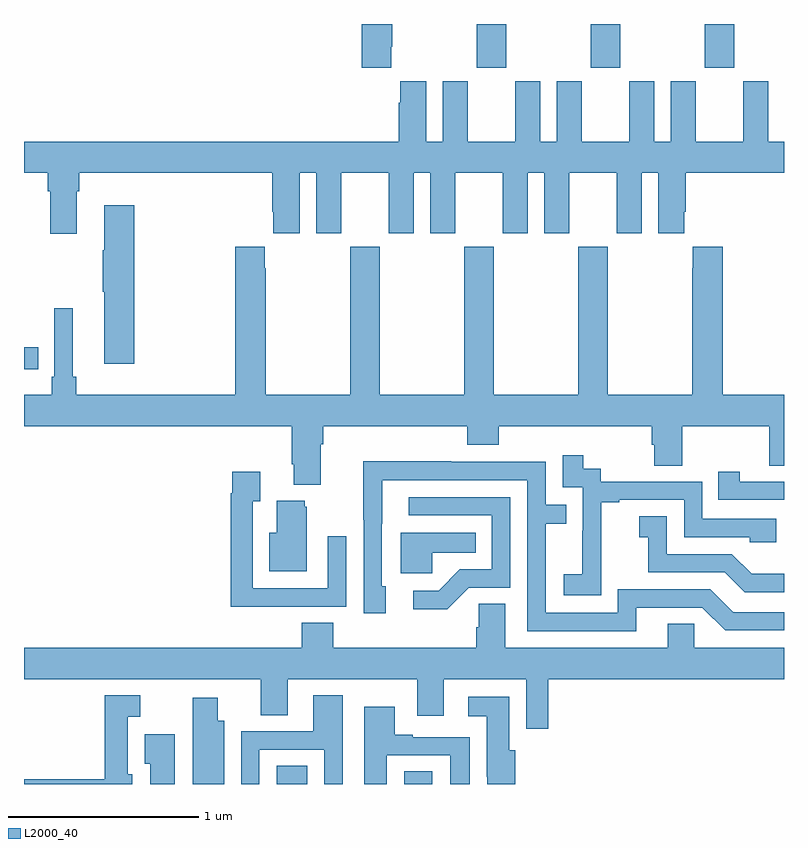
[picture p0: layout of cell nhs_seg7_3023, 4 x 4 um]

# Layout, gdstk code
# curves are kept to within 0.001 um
import gdstk
lib = gdstk.Library(unit=1e-6, precision=1e-09)
def R(c, l, rs):  # rectangles x0, y0, x1, y1
    for r in rs: c.add(gdstk.rectangle(r[:2], r[2:], *l))
def A(c, l, x, y, w, h, nx, ny, dx, dy):  # array of equal rectangles
    R(c, l, [(x+i*dx, y+j*dy, x+i*dx+w, y+j*dy+h) for i in range(nx) for j in range(ny)])
def P(c, l, *ps):  # polygons
    for p in ps: c.add(gdstk.Polygon(p, *l))
L2000_40 = (2000, 40)

nhs_seg7_3023 = lib.new_cell('nhs_seg7_3023')
A(nhs_seg7_3023, L2000_40, 305.383, 1067.769, 0.155, 0.231, 3, 1, 0.6, 0)
R(nhs_seg7_3023, L2000_40, [(304.331,1064,304.492,1064.096), (305,1064,305.149,1064.066), (303,1066.182,303.074,1066.298)])
P(nhs_seg7_3023, L2000_40, [(304.933,1067.881),(304.938,1067.881),(304.938,1068),(304.778,1068),(304.778,1067.769),(304.933,1067.769)],
  [(303.277,1067.12),(303.29,1067.12),(303.29,1067.216),(304.307,1067.216),(304.307,1067.011),(304.313,1067.011),(304.313,1066.899),(304.45,1066.899),(304.45,1067.216),(304.538,1067.216),(304.538,1066.899),(304.669,1066.899),(304.669,1067.216),(304.919,1067.216),(304.919,1066.899),(305.05,1066.899),(305.05,1067.216),(305.138,1067.216),(305.138,1066.899),(305.269,1066.899),(305.269,1067.216),(305.519,1067.216),(305.519,1066.899),(305.65,1066.899),(305.65,1067.216),(305.738,1067.216),(305.738,1066.899),(305.869,1066.899),(305.869,1067.216),(306.119,1067.216),(306.119,1066.899),(306.25,1066.899),(306.25,1067.216),(306.338,1067.216),(306.338,1066.899),(306.475,1066.899),(306.475,1067.011),(306.482,1067.011),(306.482,1067.216),(307,1067.216),(307,1067.38),(306.916,1067.38),(306.916,1067.698),(306.785,1067.698),(306.785,1067.38),(306.535,1067.38),(306.535,1067.698),(306.404,1067.698),(306.404,1067.38),(306.316,1067.38),(306.316,1067.698),(306.185,1067.698),(306.185,1067.38),(305.935,1067.38),(305.935,1067.698),(305.804,1067.698),(305.804,1067.38),(305.716,1067.38),(305.716,1067.698),(305.585,1067.698),(305.585,1067.38),(305.335,1067.38),(305.335,1067.698),(305.204,1067.698),(305.204,1067.38),(305.116,1067.38),(305.116,1067.698),(304.979,1067.698),(304.979,1067.585),(304.973,1067.585),(304.973,1067.38),(303,1067.38),(303,1067.216),(303.125,1067.216),(303.125,1067.12),(303.137,1067.12),(303.137,1066.896),(303.277,1066.896)],
  [(303.581,1067.047),(303.422,1067.047),(303.422,1066.808),(303.415,1066.808),(303.415,1066.591),(303.422,1066.591),(303.422,1066.212),(303.581,1066.212)],
  [(304.561,1065.788),(304.574,1065.788),(304.574,1065.884),(305.333,1065.884),(305.333,1065.785),(305.498,1065.785),(305.498,1065.884),(306.305,1065.884),(306.305,1065.786),(306.317,1065.786),(306.317,1065.676),(306.465,1065.676),(306.465,1065.884),(306.922,1065.884),(306.922,1065.676),(307,1065.676),(307,1066.048),(306.677,1066.048),(306.677,1066.828),(306.521,1066.828),(306.521,1066.715),(306.517,1066.715),(306.517,1066.048),(306.072,1066.048),(306.072,1066.828),(305.917,1066.828),(305.917,1066.048),(305.472,1066.048),(305.472,1066.828),(305.317,1066.828),(305.317,1066.048),(304.872,1066.048),(304.872,1066.828),(304.717,1066.828),(304.717,1066.048),(304.272,1066.048),(304.272,1066.715),(304.267,1066.715),(304.267,1066.828),(304.112,1066.828),(304.112,1066.048),(303.275,1066.048),(303.275,1066.144),(303.256,1066.144),(303.256,1066.504),(303.159,1066.504),(303.159,1066.144),(303.146,1066.144),(303.146,1066.048),(303,1066.048),(303,1065.884),(304.409,1065.884),(304.409,1065.682),(304.421,1065.682),(304.421,1065.575),(304.561,1065.575)],
  [(306.039,1065.199),(306.038,1065.199),(306.038,1065.483),(306.133,1065.483),(306.133,1065.495),(306.474,1065.495),(306.474,1065.3),(306.819,1065.3),(306.819,1065.273),(306.959,1065.273),(306.959,1065.396),(306.57,1065.396),(306.57,1065.591),(306.036,1065.591),(306.036,1065.66),(305.944,1065.66),(305.944,1065.73),(305.835,1065.73),(305.835,1065.561),(305.94,1065.561),(305.94,1065.332),(305.939,1065.332),(305.939,1065.103),(305.841,1065.103),(305.841,1064.993),(306.039,1064.993)],
  [(306.223,1064.928),(306.57,1064.928),(306.69,1064.808),(307,1064.808),(307,1064.904),(306.732,1064.904),(306.612,1065.024),(306.126,1065.024),(306.126,1064.901),(305.745,1064.901),(305.745,1065.37),(305.855,1065.37),(305.855,1065.471),(305.745,1065.471),(305.745,1065.696),(305.249,1065.696),(305.249,1065.698),(304.786,1065.698),(304.786,1065.391),(304.788,1065.391),(304.788,1064.898),(304.903,1064.898),(304.903,1065.042),(304.884,1065.042),(304.885,1065.6),(305.649,1065.6),(305.649,1064.805),(306.223,1064.805)],
  [(304.379,1064.934),(304.695,1064.934),(304.695,1065.304),(304.599,1065.304),(304.599,1065.03),(304.203,1065.03),(304.203,1065.487),(304.243,1065.487),(304.243,1065.643),(304.095,1065.643),(304.095,1065.53),(304.087,1065.53),(304.087,1064.933),(304.379,1064.933)],
  [(307,1065.591),(306.766,1065.591),(306.766,1065.643),(306.655,1065.643),(306.655,1065.495),(307,1065.495)],
  [(305.34,1065.033),(305.559,1065.033),(305.559,1065.51),(305.025,1065.51),(305.025,1065.414),(305.463,1065.414),(305.463,1065.129),(305.294,1065.129),(305.183,1065.018),(305.049,1065.018),(305.049,1064.921),(305.227,1064.921)],
  [(304.489,1065.459),(304.478,1065.459),(304.478,1065.49),(304.331,1065.49),(304.331,1065.322),(304.292,1065.322),(304.292,1065.119),(304.489,1065.119)],
  [(307,1065.106),(306.83,1065.106),(306.726,1065.21),(306.384,1065.21),(306.384,1065.409),(306.237,1065.409),(306.237,1065.299),(306.286,1065.299),(306.286,1065.114),(306.689,1065.114),(306.794,1065.009),(307,1065.009)],
  [(305.148,1065.218),(305.378,1065.218),(305.378,1065.322),(304.982,1065.322),(304.982,1065.11),(305.148,1065.11)],
  [(305.759,1064.552),(307,1064.552),(307,1064.716),(306.528,1064.716),(306.528,1064.843),(306.389,1064.843),(306.389,1064.716),(305.533,1064.716),(305.533,1064.948),(305.394,1064.948),(305.394,1064.825),(305.381,1064.825),(305.381,1064.716),(304.628,1064.716),(304.628,1064.849),(304.463,1064.849),(304.463,1064.716),(303,1064.716),(303,1064.552),(304.247,1064.552),(304.247,1064.362),(304.387,1064.362),(304.387,1064.552),(305.069,1064.552),(305.069,1064.358),(305.209,1064.358),(305.209,1064.552),(305.643,1064.552),(305.643,1064.292),(305.759,1064.292)],
  [(304.239,1064.181),(304.581,1064.181),(304.581,1064),(304.677,1064),(304.677,1064.467),(304.523,1064.467),(304.523,1064.277),(304.143,1064.277),(304.143,1064),(304.239,1064)],
  [(303.571,1064.052),(303.547,1064.052),(303.547,1064.354),(303.613,1064.354),(303.613,1064.467),(303.426,1064.467),(303.426,1064.024),(303,1064.024),(303,1064),(303.571,1064)],
  [(305.585,1064.178),(305.554,1064.178),(305.554,1064.458),(305.337,1064.458),(305.337,1064.357),(305.435,1064.357),(305.435,1064.038),(305.439,1064.038),(305.439,1064),(305.585,1064)],
  [(304.054,1064.332),(304.021,1064.332),(304.021,1064.455),(303.887,1064.455),(303.887,1064),(304.054,1064)],
  [(304.909,1064.151),(305.243,1064.151),(305.243,1064),(305.347,1064),(305.347,1064.247),(305.047,1064.247),(305.047,1064.26),(304.951,1064.26),(304.951,1064.407),(304.79,1064.407),(304.79,1064),(304.909,1064)],
  [(303.793,1064.263),(303.635,1064.263),(303.635,1064.107),(303.665,1064.107),(303.665,1064),(303.793,1064)])

lib.write_gds('nhs_seg7_3023.gds')
